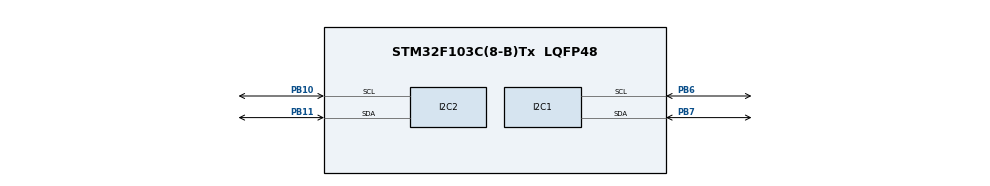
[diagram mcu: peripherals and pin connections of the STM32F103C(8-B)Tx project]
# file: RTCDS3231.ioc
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Dma.I2C2_RX.0.Direction=DMA_PERIPH_TO_MEMORY
Dma.I2C2_RX.0.Instance=DMA1_Channel5
Dma.I2C2_RX.0.MemDataAlignment=DMA_MDATAALIGN_BYTE
Dma.I2C2_RX.0.MemInc=DMA_MINC_ENABLE
Dma.I2C2_RX.0.Mode=DMA_CIRCULAR
Dma.I2C2_RX.0.PeriphDataAlignment=DMA_PDATAALIGN_BYTE
Dma.I2C2_RX.0.PeriphInc=DMA_PINC_DISABLE
Dma.I2C2_RX.0.Priority=DMA_PRIORITY_LOW
Dma.Request0=I2C2_RX
Mcu.Family=STM32F1
Mcu.Name=STM32F103C(8-B)Tx
Mcu.Package=LQFP48
NVIC.DMA1_Channel5_IRQn=true\:0\:0\:false\:false\:true\:false
NVIC.I2C2_EV_IRQn=true\:0\:0\:false\:false\:true\:true
NVIC.PriorityGroup=NVIC_PRIORITYGROUP_4
PA13.Mode=Serial_Wire
PA13.Signal=SYS_JTMS-SWDIO
PA14.Mode=Serial_Wire
PA14.Signal=SYS_JTCK-SWCLK
PB10.Mode=I2C
PB10.Signal=I2C2_SCL
PB11.Mode=I2C
PB11.Signal=I2C2_SDA
PB6.Mode=I2C
PB6.Signal=I2C1_SCL
PB7.Mode=I2C
PB7.Signal=I2C1_SDA
ProjectManager.HeapSize=0x200
ProjectManager.StackSize=0x400
ProjectManager.TargetToolchain=MDK-ARM V5
RCC.APB1Freq_Value=8000000
RCC.APB2Freq_Value=8000000
board=RTCDS3231

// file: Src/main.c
/**
  ******************************************************************************
  * @file           : main.c
  * @brief          : Main program body
  ******************************************************************************
  ** This notice applies to any and all portions of this file
  * that are not between comment pairs USER CODE BEGIN and
  * USER CODE END. Other portions of this file, whether
  * inserted by the user or by software development tools
  * are owned by their respective copyright owners.
  *
  * COPYRIGHT(c) 2020 STMicroelectronics
  *
  * Redistribution and use in source and binary forms, with or without modification,
  * are permitted provided that the following conditions are met:
  *   1. Redistributions of source code must retain the above copyright notice,
  *      this list of conditions and the following disclaimer.
  *   2. Redistributions in binary form must reproduce the above copyright notice,
  *      this list of conditions and the following disclaimer in the documentation
  *      and/or other materials provided with the distribution.
  *   3. Neither the name of STMicroelectronics nor the names of its contributors
  *      may be used to endorse or promote products derived from this software
  *      without specific prior written permission.
  *
  * THIS SOFTWARE IS PROVIDED BY THE COPYRIGHT HOLDERS AND CONTRIBUTORS "AS IS"
  * AND ANY EXPRESS OR IMPLIED WARRANTIES, INCLUDING, BUT NOT LIMITED TO, THE
  * IMPLIED WARRANTIES OF MERCHANTABILITY AND FITNESS FOR A PARTICULAR PURPOSE ARE
  * DISCLAIMED. IN NO EVENT SHALL THE COPYRIGHT HOLDER OR CONTRIBUTORS BE LIABLE
  * FOR ANY DIRECT, INDIRECT, INCIDENTAL, SPECIAL, EXEMPLARY, OR CONSEQUENTIAL
  * DAMAGES (INCLUDING, BUT NOT LIMITED TO, PROCUREMENT OF SUBSTITUTE GOODS OR
  * SERVICES; LOSS OF USE, DATA, OR PROFITS; OR BUSINESS INTERRUPTION) HOWEVER
  * CAUSED AND ON ANY THEORY OF LIABILITY, WHETHER IN CONTRACT, STRICT LIABILITY,
  * OR TORT (INCLUDING NEGLIGENCE OR OTHERWISE) ARISING IN ANY WAY OUT OF THE USE
  * OF THIS SOFTWARE, EVEN IF ADVISED OF THE POSSIBILITY OF SUCH DAMAGE.
  *
  ******************************************************************************
  */
#include "main.h"
#include "stm32f1xx_hal.h"

/* USER CODE BEGIN Includes */
#include "i2c-lcd.h"
#include "ds3231.h"
#include "AT24C32.h"

/* USER CODE END Includes */

I2C_HandleTypeDef hi2c1;
I2C_HandleTypeDef hi2c2;
DMA_HandleTypeDef hdma_i2c2_rx;

/* USER CODE BEGIN PV */
/* Private variables ---------------------------------------------------------*/

#define DS3231_ADD 	0x68

/* USER CODE END PV */

void SystemClock_Config(void);
static void MX_GPIO_Init(void);
static void MX_DMA_Init(void);
static void MX_I2C2_Init(void);
static void MX_I2C1_Init(void);

/* USER CODE BEGIN PFP */
/* Private function prototypes -----------------------------------------------*/
	uint8_t second,minute,hour,day,date,month,year;
	uint8_t readbyte, huynhbv;
/* USER CODE END PFP */

int main(void)
{

  /* MCU Configuration----------------------------------------------------------*/

  /* Reset of all peripherals, Initializes the Flash interface and the Systick. */
  HAL_Init();

  /* Configure the system clock */
  SystemClock_Config();

  /* Initialize all configured peripherals */
  MX_GPIO_Init();
  MX_DMA_Init();
  MX_I2C2_Init();
  MX_I2C1_Init();
  /* USER CODE BEGIN 2 */

lcd_init();
  /* USER CODE END 2 */

  /* Infinite loop */
  /* USER CODE BEGIN WHILE */
  while (1)
  {
		Get_DateTime( &second, &minute,&hour, &day, &date, &month, &year);
		char buf1[50];
		sprintf(buf1, "%02d/%02d %02d:%02d:%02d", date, month, hour, minute, second);
		lcd_goto_XY(1,0);
		lcd_send_string(buf1);

		char buf2[50];
		sprintf(buf2, "TEMP: %.1f'C", Get_Temp ());
		lcd_goto_XY(2,0);
		lcd_send_string(buf2);
		HAL_Delay(1000);
		lcd_clear_display();

	huynhbv = 101;
	//writeEEPROM(0, huynhbv);
	readEEPROM(0, &readbyte);
		/* USER CODE END WHILE */

  }

}

void SystemClock_Config(void)
{

  RCC_OscInitTypeDef RCC_OscInitStruct;
  RCC_ClkInitTypeDef RCC_ClkInitStruct;

    /**Initializes the CPU, AHB and APB busses clocks
    */
  RCC_OscInitStruct.OscillatorType = RCC_OSCILLATORTYPE_HSI;
  RCC_OscInitStruct.HSIState = RCC_HSI_ON;
  RCC_OscInitStruct.HSICalibrationValue = 16;
  RCC_OscInitStruct.PLL.PLLState = RCC_PLL_NONE;
  if (HAL_RCC_OscConfig(&RCC_OscInitStruct) != HAL_OK)
  {
    _Error_Handler(__FILE__, __LINE__);
  }

    /**Initializes the CPU, AHB and APB busses clocks
    */
  RCC_ClkInitStruct.ClockType = RCC_CLOCKTYPE_HCLK|RCC_CLOCKTYPE_SYSCLK
                              |RCC_CLOCKTYPE_PCLK1|RCC_CLOCKTYPE_PCLK2;
  RCC_ClkInitStruct.SYSCLKSource = RCC_SYSCLKSOURCE_HSI;
  RCC_ClkInitStruct.AHBCLKDivider = RCC_SYSCLK_DIV1;
  RCC_ClkInitStruct.APB1CLKDivider = RCC_HCLK_DIV1;
  RCC_ClkInitStruct.APB2CLKDivider = RCC_HCLK_DIV1;

  if (HAL_RCC_ClockConfig(&RCC_ClkInitStruct, FLASH_LATENCY_0) != HAL_OK)
  {
    _Error_Handler(__FILE__, __LINE__);
  }

    /**Configure the Systick interrupt time
    */
  HAL_SYSTICK_Config(HAL_RCC_GetHCLKFreq()/1000);

    /**Configure the Systick
    */
  HAL_SYSTICK_CLKSourceConfig(SYSTICK_CLKSOURCE_HCLK);

  /* SysTick_IRQn interrupt configuration */
  HAL_NVIC_SetPriority(SysTick_IRQn, 0, 0);
}

/* I2C1 init function */
static void MX_I2C1_Init(void)
{

  hi2c1.Instance = I2C1;
  hi2c1.Init.ClockSpeed = 100000;
  hi2c1.Init.DutyCycle = I2C_DUTYCYCLE_2;
  hi2c1.Init.OwnAddress1 = 0;
  hi2c1.Init.AddressingMode = I2C_ADDRESSINGMODE_7BIT;
  hi2c1.Init.DualAddressMode = I2C_DUALADDRESS_DISABLE;
  hi2c1.Init.OwnAddress2 = 0;
  hi2c1.Init.GeneralCallMode = I2C_GENERALCALL_DISABLE;
  hi2c1.Init.NoStretchMode = I2C_NOSTRETCH_DISABLE;
  if (HAL_I2C_Init(&hi2c1) != HAL_OK)
  {
    _Error_Handler(__FILE__, __LINE__);
  }

}

/* I2C2 init function */
static void MX_I2C2_Init(void)
{

  hi2c2.Instance = I2C2;
  hi2c2.Init.ClockSpeed = 100000;
  hi2c2.Init.DutyCycle = I2C_DUTYCYCLE_2;
  hi2c2.Init.OwnAddress1 = 0;
  hi2c2.Init.AddressingMode = I2C_ADDRESSINGMODE_7BIT;
  hi2c2.Init.DualAddressMode = I2C_DUALADDRESS_DISABLE;
  hi2c2.Init.OwnAddress2 = 0;
  hi2c2.Init.GeneralCallMode = I2C_GENERALCALL_DISABLE;
  hi2c2.Init.NoStretchMode = I2C_NOSTRETCH_DISABLE;
  if (HAL_I2C_Init(&hi2c2) != HAL_OK)
  {
    _Error_Handler(__FILE__, __LINE__);
  }

}

static void MX_DMA_Init(void)
{
  /* DMA controller clock enable */
  __HAL_RCC_DMA1_CLK_ENABLE();

  /* DMA interrupt init */
  /* DMA1_Channel5_IRQn interrupt configuration */
  HAL_NVIC_SetPriority(DMA1_Channel5_IRQn, 0, 0);
  HAL_NVIC_EnableIRQ(DMA1_Channel5_IRQn);

}

/** Configure pins as
        * Analog
        * Input
        * Output
        * EVENT_OUT
        * EXTI
*/
static void MX_GPIO_Init(void)
{

  /* GPIO Ports Clock Enable */
  __HAL_RCC_GPIOB_CLK_ENABLE();
  __HAL_RCC_GPIOA_CLK_ENABLE();

}

void _Error_Handler(char *file, int line)
{
  while(1)
  {
  }
}

/************************ (C) COPYRIGHT STMicroelectronics *****END OF FILE****/
